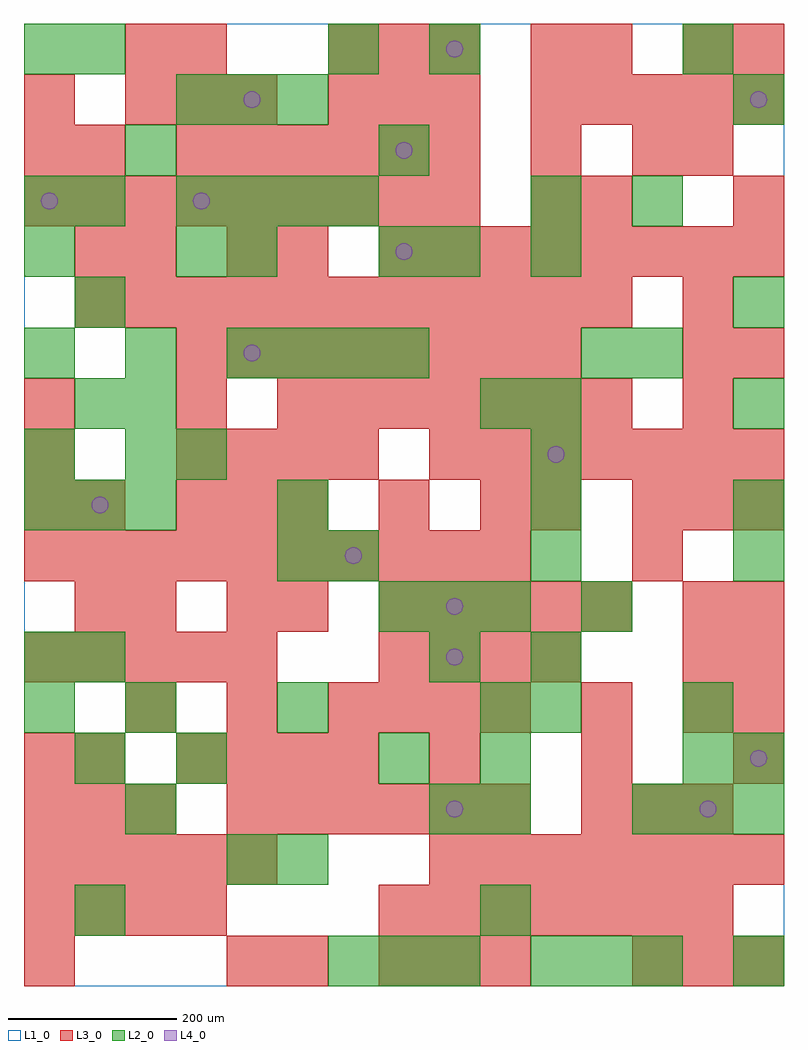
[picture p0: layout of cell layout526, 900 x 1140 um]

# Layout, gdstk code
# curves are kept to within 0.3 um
import gdstk
lib = gdstk.Library(unit=1e-6, precision=1e-09)
def R(c, l, rs):  # rectangles x0, y0, x1, y1
    for r in rs: c.add(gdstk.rectangle(r[:2], r[2:], *l))
def A(c, l, x, y, w, h, nx, ny, dx, dy):  # array of equal rectangles
    R(c, l, [(x+i*dx, y+j*dy, x+i*dx+w, y+j*dy+h) for i in range(nx) for j in range(ny)])
def P(c, l, *ps):  # polygons
    for p in ps: c.add(gdstk.Polygon(p, *l))
L1_0 = (1, 0)
L2_0 = (2, 0)
L3_0 = (3, 0)
L4_0 = (4, 0)

layout526 = lib.new_cell('layout526')
R(layout526, L1_0, [(0,0,900,1140)])
A(layout526, L2_0, 360, 0, 60, 60, 3, 1, 60, 0)
A(layout526, L2_0, 600, 0, 60, 60, 3, 1, 60, 0)
A(layout526, L2_0, 300, 120, 60, 60, 1, 3, 0, 180)
A(layout526, L2_0, 540, 180, 60, 60, 1, 3, 0, 60)
A(layout526, L2_0, 720, 180, 60, 60, 3, 1, 60, 0)
A(layout526, L2_0, 0, 360, 60, 60, 1, 3, 0, 240)
A(layout526, L2_0, 420, 420, 60, 60, 3, 1, 60, 0)
A(layout526, L2_0, 360, 480, 60, 60, 3, 1, 240, 0)
A(layout526, L2_0, 0, 540, 60, 60, 3, 1, 60, 0)
A(layout526, L2_0, 600, 540, 60, 60, 1, 3, 0, 60)
A(layout526, L2_0, 840, 540, 60, 60, 1, 3, 0, 120)
A(layout526, L2_0, 60, 660, 60, 60, 1, 3, 0, 120)
A(layout526, L2_0, 0, 720, 60, 60, 3, 1, 120, 0)
A(layout526, L2_0, 300, 720, 60, 60, 3, 1, 60, 0)
A(layout526, L2_0, 180, 900, 60, 60, 4, 1, 60, 0)
A(layout526, L2_0, 180, 1020, 60, 60, 3, 1, 60, 0)
R(layout526, L2_0, [(840,0,900,60), (60,60,120,120), (540,60,600,120), (240,120,300,180), (120,180,180,240), (480,180,540,240), (60,240,120,300), (180,240,240,300), (420,240,480,300), (780,240,840,300), (840,240,900,300), (0,300,60,360), (120,300,180,360), (600,300,660,360), (780,300,840,360), (60,360,120,420), (480,360,540,420), (600,360,660,420), (660,420,720,480), (300,540,360,600), (120,600,180,660), (180,600,240,660), (120,660,180,720), (540,660,600,720), (660,720,720,780), (720,720,780,780), (180,840,240,900), (240,840,300,900), (420,840,480,900), (480,840,540,900), (600,840,660,900), (0,900,60,960), (600,900,660,960), (720,900,780,960), (120,960,180,1020), (420,960,480,1020), (840,1020,900,1080), (0,1080,60,1140), (60,1080,120,1140), (360,1080,420,1140), (480,1080,540,1140), (780,1080,840,1140)])
A(layout526, L3_0, 240, 0, 60, 60, 1, 3, 0, 420)
A(layout526, L3_0, 300, 0, 60, 60, 1, 3, 0, 420)
A(layout526, L3_0, 420, 0, 60, 60, 3, 2, 60, 300)
A(layout526, L3_0, 720, 0, 60, 60, 3, 2, 60, 540)
A(layout526, L3_0, 0, 60, 60, 60, 4, 1, 60, 0)
A(layout526, L3_0, 420, 60, 60, 60, 7, 1, 60, 0)
A(layout526, L3_0, 0, 120, 60, 60, 5, 2, 60, 240)
A(layout526, L3_0, 480, 120, 60, 60, 7, 2, 60, 480)
A(layout526, L3_0, 0, 180, 60, 60, 3, 1, 60, 0)
A(layout526, L3_0, 240, 180, 60, 60, 6, 1, 60, 0)
A(layout526, L3_0, 660, 180, 60, 60, 3, 1, 60, 0)
A(layout526, L3_0, 180, 240, 60, 60, 4, 2, 60, 360)
A(layout526, L3_0, 480, 240, 60, 60, 3, 1, 180, 0)
A(layout526, L3_0, 120, 300, 60, 60, 3, 1, 120, 0)
A(layout526, L3_0, 780, 300, 60, 60, 1, 3, 0, 60)
A(layout526, L3_0, 840, 300, 60, 60, 1, 3, 0, 60)
A(layout526, L3_0, 420, 360, 60, 60, 4, 1, 60, 0)
A(layout526, L3_0, 420, 420, 60, 60, 5, 1, 60, 0)
A(layout526, L3_0, 0, 480, 60, 60, 10, 1, 60, 0)
A(layout526, L3_0, 0, 540, 60, 60, 1, 3, 0, 60)
A(layout526, L3_0, 180, 540, 60, 60, 3, 1, 60, 0)
A(layout526, L3_0, 300, 660, 60, 60, 7, 1, 60, 0)
A(layout526, L3_0, 780, 660, 60, 60, 1, 3, 0, 60)
A(layout526, L3_0, 180, 720, 60, 60, 8, 1, 60, 0)
A(layout526, L3_0, 840, 720, 60, 60, 1, 3, 0, 180)
A(layout526, L3_0, 60, 780, 60, 60, 11, 1, 60, 0)
A(layout526, L3_0, 420, 840, 60, 60, 8, 1, 60, 0)
A(layout526, L3_0, 0, 900, 60, 60, 9, 1, 60, 0)
A(layout526, L3_0, 180, 960, 60, 60, 6, 1, 60, 0)
A(layout526, L3_0, 120, 1020, 60, 60, 3, 1, 60, 0)
A(layout526, L3_0, 360, 1020, 60, 60, 3, 2, 60, 60)
A(layout526, L3_0, 600, 1020, 60, 60, 5, 1, 60, 0)
R(layout526, L3_0, [(0,0,60,60), (0,240,60,300), (60,240,120,300), (660,300,720,360), (60,420,120,480), (120,420,180,480), (720,480,780,540), (60,540,120,600), (420,540,480,600), (540,540,600,600), (600,540,660,600), (180,660,240,720), (60,840,120,900), (120,840,180,900), (600,900,660,960), (660,900,720,960), (0,960,60,1020), (60,960,120,1020), (600,960,660,1020), (720,960,780,1020), (780,960,840,1020), (0,1020,60,1080), (120,1080,180,1140), (180,1080,240,1140), (600,1080,660,1140), (660,1080,720,1140), (780,1080,840,1140)])
P(layout526, L4_0, [(40,930),(39.239,933.827),(37.071,937.071),(33.827,939.239),(30,940),(26.173,939.239),(22.929,937.071),(20.761,933.827),(20,930),(20.761,926.173),(22.929,922.929),(26.173,920.761),(30,920),(33.827,920.761),(37.071,922.929),(39.239,926.173)],
  [(100,570),(99.239,573.827),(97.071,577.071),(93.827,579.239),(90,580),(86.173,579.239),(82.929,577.071),(80.761,573.827),(80,570),(80.761,566.173),(82.929,562.929),(86.173,560.761),(90,560),(93.827,560.761),(97.071,562.929),(99.239,566.173)],
  [(220,930),(219.239,933.827),(217.071,937.071),(213.827,939.239),(210,940),(206.173,939.239),(202.929,937.071),(200.761,933.827),(200,930),(200.761,926.173),(202.929,922.929),(206.173,920.761),(210,920),(213.827,920.761),(217.071,922.929),(219.239,926.173)],
  [(280,750),(279.239,753.827),(277.071,757.071),(273.827,759.239),(270,760),(266.173,759.239),(262.929,757.071),(260.761,753.827),(260,750),(260.761,746.173),(262.929,742.929),(266.173,740.761),(270,740),(273.827,740.761),(277.071,742.929),(279.239,746.173)],
  [(280,1050),(279.239,1053.827),(277.071,1057.071),(273.827,1059.239),(270,1060),(266.173,1059.239),(262.929,1057.071),(260.761,1053.827),(260,1050),(260.761,1046.173),(262.929,1042.929),(266.173,1040.761),(270,1040),(273.827,1040.761),(277.071,1042.929),(279.239,1046.173)],
  [(400,510),(399.239,513.827),(397.071,517.071),(393.827,519.239),(390,520),(386.173,519.239),(382.929,517.071),(380.761,513.827),(380,510),(380.761,506.173),(382.929,502.929),(386.173,500.761),(390,500),(393.827,500.761),(397.071,502.929),(399.239,506.173)],
  [(460,870),(459.239,873.827),(457.071,877.071),(453.827,879.239),(450,880),(446.173,879.239),(442.929,877.071),(440.761,873.827),(440,870),(440.761,866.173),(442.929,862.929),(446.173,860.761),(450,860),(453.827,860.761),(457.071,862.929),(459.239,866.173)],
  [(460,990),(459.239,993.827),(457.071,997.071),(453.827,999.239),(450,1000),(446.173,999.239),(442.929,997.071),(440.761,993.827),(440,990),(440.761,986.173),(442.929,982.929),(446.173,980.761),(450,980),(453.827,980.761),(457.071,982.929),(459.239,986.173)],
  [(520,210),(519.239,213.827),(517.071,217.071),(513.827,219.239),(510,220),(506.173,219.239),(502.929,217.071),(500.761,213.827),(500,210),(500.761,206.173),(502.929,202.929),(506.173,200.761),(510,200),(513.827,200.761),(517.071,202.929),(519.239,206.173)],
  [(520,390),(519.239,393.827),(517.071,397.071),(513.827,399.239),(510,400),(506.173,399.239),(502.929,397.071),(500.761,393.827),(500,390),(500.761,386.173),(502.929,382.929),(506.173,380.761),(510,380),(513.827,380.761),(517.071,382.929),(519.239,386.173)],
  [(520,450),(519.239,453.827),(517.071,457.071),(513.827,459.239),(510,460),(506.173,459.239),(502.929,457.071),(500.761,453.827),(500,450),(500.761,446.173),(502.929,442.929),(506.173,440.761),(510,440),(513.827,440.761),(517.071,442.929),(519.239,446.173)],
  [(520,1110),(519.239,1113.827),(517.071,1117.071),(513.827,1119.239),(510,1120),(506.173,1119.239),(502.929,1117.071),(500.761,1113.827),(500,1110),(500.761,1106.173),(502.929,1102.929),(506.173,1100.761),(510,1100),(513.827,1100.761),(517.071,1102.929),(519.239,1106.173)],
  [(640,630),(639.239,633.827),(637.071,637.071),(633.827,639.239),(630,640),(626.173,639.239),(622.929,637.071),(620.761,633.827),(620,630),(620.761,626.173),(622.929,622.929),(626.173,620.761),(630,620),(633.827,620.761),(637.071,622.929),(639.239,626.173)],
  [(820,210),(819.239,213.827),(817.071,217.071),(813.827,219.239),(810,220),(806.173,219.239),(802.929,217.071),(800.761,213.827),(800,210),(800.761,206.173),(802.929,202.929),(806.173,200.761),(810,200),(813.827,200.761),(817.071,202.929),(819.239,206.173)],
  [(880,270),(879.239,273.827),(877.071,277.071),(873.827,279.239),(870,280),(866.173,279.239),(862.929,277.071),(860.761,273.827),(860,270),(860.761,266.173),(862.929,262.929),(866.173,260.761),(870,260),(873.827,260.761),(877.071,262.929),(879.239,266.173)],
  [(880,1050),(879.239,1053.827),(877.071,1057.071),(873.827,1059.239),(870,1060),(866.173,1059.239),(862.929,1057.071),(860.761,1053.827),(860,1050),(860.761,1046.173),(862.929,1042.929),(866.173,1040.761),(870,1040),(873.827,1040.761),(877.071,1042.929),(879.239,1046.173)])

lib.write_gds('layout526.gds')
